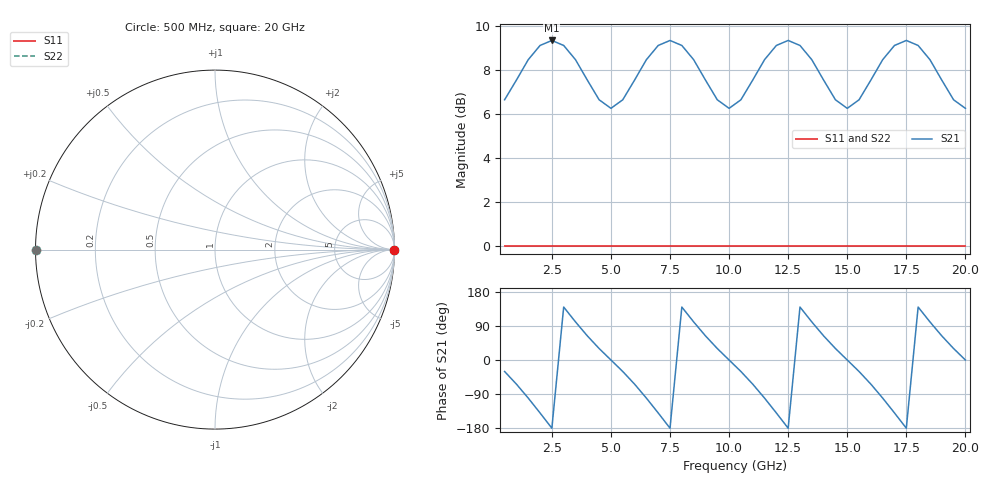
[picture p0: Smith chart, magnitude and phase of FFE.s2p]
! File created by SignalIntegrity v1.1.8: Signal and Power Integrity Tools
! https://github.com/TeledyneLeCroy/SignalIntegrity
# MHz MA S R 50.0
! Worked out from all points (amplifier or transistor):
!   40 points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, 500 MHz to 20 GHz, reference 50 ohm
!   highest |S21| = 9.3 dB at 2.5 GHz (marker M1)
!   |S21| within 3 dB of that: start of sweep to 4.901 GHz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
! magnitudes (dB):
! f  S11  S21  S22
! 500 MHz  0.0  6.6  0.0
! 1.5 GHz  0.0  8.5  0.0
! 2.5 GHz  0.0  9.3  0.0
! 3 GHz  0.0  9.1  0.0
! 4 GHz  0.0  7.5  0.0
! 5 GHz  0.0  6.2  0.0
! 5.5 GHz  0.0  6.6  0.0
! 7 GHz  0.0  9.1  0.0
! 8 GHz  0.0  9.1  0.0
! 9.5 GHz  0.0  6.6  0.0
! 10 GHz  0.0  6.2  0.0
! 10.5 GHz  0.0  6.6  0.0
! 12 GHz  0.0  9.1  0.0
! 12.5 GHz  0.0  9.3  0.0
! 13.5 GHz  0.0  8.5  0.0
! 14.5 GHz  0.0  6.6  0.0
! 15 GHz  0.0  6.2  0.0
! 15.5 GHz  0.0  6.6  0.0
! 17 GHz  0.0  9.1  0.0
! 18 GHz  0.0  9.1  0.0
! 19.5 GHz  0.0  6.6  0.0
! 20 GHz  0.0  6.2  0.0
